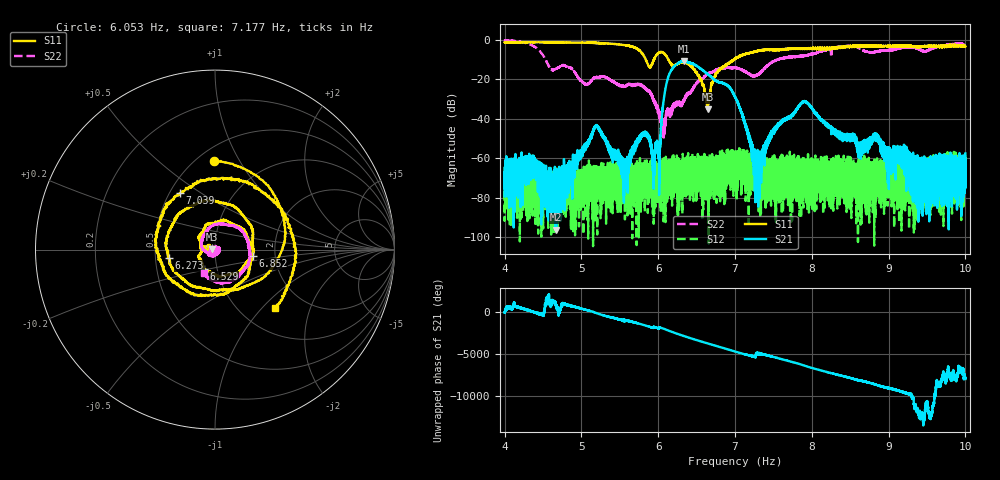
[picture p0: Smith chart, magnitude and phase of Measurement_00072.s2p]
!Created with skrf (http://scikit-rf.org).
# Hz S RI R 50.0
!freq ReS11 ImS11 ReS21 ImS21 ReS12 ImS12 ReS22 ImS22
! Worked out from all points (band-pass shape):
!   14001 points, 4 Hz to 10 Hz, reference 50 ohm
!   highest |S21| = -10.60 dB at 6.339 Hz (marker M1); lowest = -96.2 dB at 4.672 Hz (marker M2)
!   |S21| within 3 dB of the highest: 6.202393 Hz to 6.202588 Hz (195.2 uHz wide, 0.00315 % of centre); 6.204 Hz to 6.521 Hz (317.5 mHz wide, 4.99 % of centre) (the widest 2 of 4)
!   lowest |S11| = -35.1 dB at 6.646 Hz (marker M3), VSWR 1.04, Z = 48.3 + j0.206 ohm
!   |S11| at or under -10 dB: 5.839 Hz to 5.943 Hz (104 mHz wide, 1.77 % of centre); 6.135 Hz to 6.981 Hz (846.6 mHz wide, 12.9 % of centre); 6.982985 Hz to 6.984377 Hz (1.392 mHz wide, 0.0199 % of centre) (the widest 3 of 6)
!   |S22| runs from -49.5 to -0.2 dB; largest |S21 - S12| = 0.3
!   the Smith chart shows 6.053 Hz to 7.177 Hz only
!   S11 on the Smith chart (normalised r, x): 6.053 Hz: 0.60, +0.79; 6.273 Hz: 0.59, -0.06; 6.529 Hz: 0.86, -0.19; 6.852 Hz: 1.53, -0.11; 7.039 Hz: 0.56, +0.41; 7.177 Hz: 1.42, -1.19
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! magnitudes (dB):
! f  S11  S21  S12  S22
! 4 Hz  -1.1  -64.9  -70.9  -0.2
! 4.672 Hz  -1.1  -96.2  -80.4  -14.4
! 5 Hz  -1.3  -56.8  -68.7  -20.7
! 5.194 Hz  -1.5  -43.1  -73.7  -18.9
! 5.555 Hz  -2.5  -65.2  -71.7  -23.6
! 5.803 Hz  -7.3  -47.2  -73.2  -23.7
! 6 Hz  -6.6  -55.4  -70.8  -35.2
! 6.053 Hz  -6.1  -36.6  -73.9  -39.9
! 6.133 Hz  -9.9  -18.5  -70.8  -35.6
! 6.273 Hz  -11.7  -11.4  -74.2  -32.1
! 6.339 Hz  -11.2  -10.6  -65.6  -30.5
! 6.529 Hz  -18.2  -13.8  -71.4  -20.7
! 6.646 Hz  -35.1  -17.4  -75.4  -17.1
! 6.852 Hz  -13.5  -22.0  -65.1  -14.2
! 7 Hz  -9.6  -28.7  -65.2  -14.0
! 7.039 Hz  -8.6  -31.8  -65.0  -14.4
! 7.177 Hz  -6.6  -48.9  -64.0  -16.9
! 7.285 Hz  -5.6  -68.9  -65.7  -17.5
! 7.57 Hz  -4.9  -42.7  -80.3  -9.8
! 8 Hz  -4.4  -34.3  -68.7  -6.9
! 9 Hz  -3.1  -58.7  -66.8  -5.1
! 10 Hz  -3.2  -57.6  -73.7  -3.1
